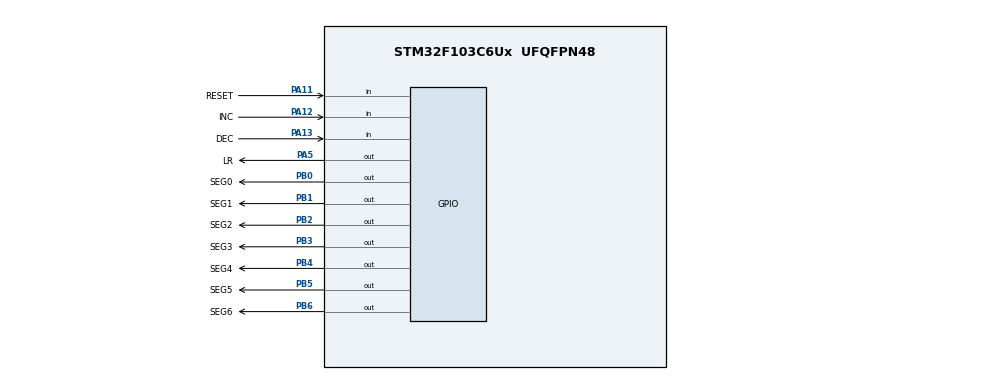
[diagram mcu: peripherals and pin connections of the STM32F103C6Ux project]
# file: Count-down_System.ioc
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Mcu.Family=STM32F1
Mcu.Name=STM32F103C6Ux
Mcu.Package=UFQFPN48
NVIC.PriorityGroup=NVIC_PRIORITYGROUP_4
NVIC.TIM2_IRQn=true\:0\:0\:false\:false\:true\:true\:true\:true
PA11.GPIO_Label=RESET
PA11.GPIO_PuPd=GPIO_PULLUP
PA11.Signal=GPIO_Input
PA12.GPIO_Label=INC
PA12.GPIO_PuPd=GPIO_PULLUP
PA12.Signal=GPIO_Input
PA13.GPIO_Label=DEC
PA13.GPIO_PuPd=GPIO_PULLUP
PA13.Signal=GPIO_Input
PA5.GPIO_Label=LR
PA5.Signal=GPIO_Output
PB0.GPIO_Label=SEG0
PB0.Signal=GPIO_Output
PB1.GPIO_Label=SEG1
PB1.Signal=GPIO_Output
PB2.GPIO_Label=SEG2
PB2.Signal=GPIO_Output
PB3.GPIO_Label=SEG3
PB3.Signal=GPIO_Output
PB4.GPIO_Label=SEG4
PB4.Signal=GPIO_Output
PB5.GPIO_Label=SEG5
PB5.Signal=GPIO_Output
PB6.GPIO_Label=SEG6
PB6.Signal=GPIO_Output
ProjectManager.HeapSize=0x200
ProjectManager.StackSize=0x400
ProjectManager.TargetToolchain=STM32CubeIDE
RCC.APB1Freq_Value=8000000
RCC.APB2Freq_Value=8000000
TIM2.Period=9
TIM2.Prescaler=7999
VP_TIM2_VS_ClockSourceINT.Mode=Internal
board=custom

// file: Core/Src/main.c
/* USER CODE BEGIN Header */
/**
  ******************************************************************************
  * @file           : main.c
  * @brief          : Main program body
  ******************************************************************************
  * @attention
  *
  * Copyright (c) 2022 STMicroelectronics.
  * All rights reserved.
  *
  * This software is licensed under terms that can be found in the LICENSE file
  * in the root directory of this software component.
  * If no LICENSE file comes with this software, it is provided AS-IS.
  *
  ******************************************************************************
  */
/* USER CODE END Header */
#include "main.h"

/* USER CODE BEGIN Includes */
#include "button.h"
#include "timer.h"
#include "sevenSegLed.h"
#include "fsm.h"
/* USER CODE END Includes */

TIM_HandleTypeDef htim2;

void SystemClock_Config(void);
static void MX_GPIO_Init(void);
static void MX_TIM2_Init(void);

int main(void)
{
  /* USER CODE BEGIN 1 */
	setTimer1(10000);
	setTimer3(500);
  /* USER CODE END 1 */

  /* MCU Configuration--------------------------------------------------------*/

  /* Reset of all peripherals, Initializes the Flash interface and the Systick. */
  HAL_Init();

  /* Configure the system clock */
  SystemClock_Config();

  /* Initialize all configured peripherals */
  MX_GPIO_Init();
  MX_TIM2_Init();
  /* USER CODE BEGIN 2 */
  HAL_TIM_Base_Start_IT(&htim2);
  /* USER CODE END 2 */

  /* Infinite loop */
  /* USER CODE BEGIN WHILE */
  while (1)
  {
    fsm_simple_button_run();
    if (getTimer3Flag())
    {
    	setTimer3(500);
    	HAL_GPIO_TogglePin(LR_GPIO_Port, LR_Pin);
    }
    /* USER CODE END WHILE */

  }
}

void SystemClock_Config(void)
{
  RCC_OscInitTypeDef RCC_OscInitStruct = {0};
  RCC_ClkInitTypeDef RCC_ClkInitStruct = {0};

  /** Initializes the RCC Oscillators according to the specified parameters
  * in the RCC_OscInitTypeDef structure.
  */
  RCC_OscInitStruct.OscillatorType = RCC_OSCILLATORTYPE_HSI;
  RCC_OscInitStruct.HSIState = RCC_HSI_ON;
  RCC_OscInitStruct.HSICalibrationValue = RCC_HSICALIBRATION_DEFAULT;
  RCC_OscInitStruct.PLL.PLLState = RCC_PLL_NONE;
  if (HAL_RCC_OscConfig(&RCC_OscInitStruct) != HAL_OK)
  {
    Error_Handler();
  }

  /** Initializes the CPU, AHB and APB buses clocks
  */
  RCC_ClkInitStruct.ClockType = RCC_CLOCKTYPE_HCLK|RCC_CLOCKTYPE_SYSCLK
                              |RCC_CLOCKTYPE_PCLK1|RCC_CLOCKTYPE_PCLK2;
  RCC_ClkInitStruct.SYSCLKSource = RCC_SYSCLKSOURCE_HSI;
  RCC_ClkInitStruct.AHBCLKDivider = RCC_SYSCLK_DIV1;
  RCC_ClkInitStruct.APB1CLKDivider = RCC_HCLK_DIV1;
  RCC_ClkInitStruct.APB2CLKDivider = RCC_HCLK_DIV1;

  if (HAL_RCC_ClockConfig(&RCC_ClkInitStruct, FLASH_LATENCY_0) != HAL_OK)
  {
    Error_Handler();
  }
}

static void MX_TIM2_Init(void)
{

  TIM_ClockConfigTypeDef sClockSourceConfig = {0};
  TIM_MasterConfigTypeDef sMasterConfig = {0};

  htim2.Instance = TIM2;
  htim2.Init.Prescaler = 7999;
  htim2.Init.CounterMode = TIM_COUNTERMODE_UP;
  htim2.Init.Period = 9;
  htim2.Init.ClockDivision = TIM_CLOCKDIVISION_DIV1;
  htim2.Init.AutoReloadPreload = TIM_AUTORELOAD_PRELOAD_DISABLE;
  if (HAL_TIM_Base_Init(&htim2) != HAL_OK)
  {
    Error_Handler();
  }
  sClockSourceConfig.ClockSource = TIM_CLOCKSOURCE_INTERNAL;
  if (HAL_TIM_ConfigClockSource(&htim2, &sClockSourceConfig) != HAL_OK)
  {
    Error_Handler();
  }
  sMasterConfig.MasterOutputTrigger = TIM_TRGO_RESET;
  sMasterConfig.MasterSlaveMode = TIM_MASTERSLAVEMODE_DISABLE;
  if (HAL_TIMEx_MasterConfigSynchronization(&htim2, &sMasterConfig) != HAL_OK)
  {
    Error_Handler();
  }

}

static void MX_GPIO_Init(void)
{
  GPIO_InitTypeDef GPIO_InitStruct = {0};

  /* GPIO Ports Clock Enable */
  __HAL_RCC_GPIOA_CLK_ENABLE();
  __HAL_RCC_GPIOB_CLK_ENABLE();

  /*Configure GPIO pin Output Level */
  HAL_GPIO_WritePin(LR_GPIO_Port, LR_Pin, GPIO_PIN_RESET);

  /*Configure GPIO pin Output Level */
  HAL_GPIO_WritePin(GPIOB, SEG0_Pin|SEG1_Pin|SEG2_Pin|SEG3_Pin
                          |SEG4_Pin|SEG5_Pin|SEG6_Pin, GPIO_PIN_RESET);

  /*Configure GPIO pin : LR_Pin */
  GPIO_InitStruct.Pin = LR_Pin;
  GPIO_InitStruct.Mode = GPIO_MODE_OUTPUT_PP;
  GPIO_InitStruct.Pull = GPIO_NOPULL;
  GPIO_InitStruct.Speed = GPIO_SPEED_FREQ_LOW;
  HAL_GPIO_Init(LR_GPIO_Port, &GPIO_InitStruct);

  /*Configure GPIO pins : SEG0_Pin SEG1_Pin SEG2_Pin SEG3_Pin
                           SEG4_Pin SEG5_Pin SEG6_Pin */
  GPIO_InitStruct.Pin = SEG0_Pin|SEG1_Pin|SEG2_Pin|SEG3_Pin
                          |SEG4_Pin|SEG5_Pin|SEG6_Pin;
  GPIO_InitStruct.Mode = GPIO_MODE_OUTPUT_PP;
  GPIO_InitStruct.Pull = GPIO_NOPULL;
  GPIO_InitStruct.Speed = GPIO_SPEED_FREQ_LOW;
  HAL_GPIO_Init(GPIOB, &GPIO_InitStruct);

  /*Configure GPIO pins : RESET_Pin INC_Pin DEC_Pin */
  GPIO_InitStruct.Pin = RESET_Pin|INC_Pin|DEC_Pin;
  GPIO_InitStruct.Mode = GPIO_MODE_INPUT;
  GPIO_InitStruct.Pull = GPIO_PULLUP;
  HAL_GPIO_Init(GPIOA, &GPIO_InitStruct);

}

/* USER CODE BEGIN 4 */
void HAL_TIM_PeriodElapsedCallback(TIM_HandleTypeDef* htim)
{
	button_reading();
	runTimer1();
	runTimer2();
	runTimer3();
	return;
}
/* USER CODE END 4 */

void Error_Handler(void)
{
  __disable_irq();
  while (1)
  {
  }
}
